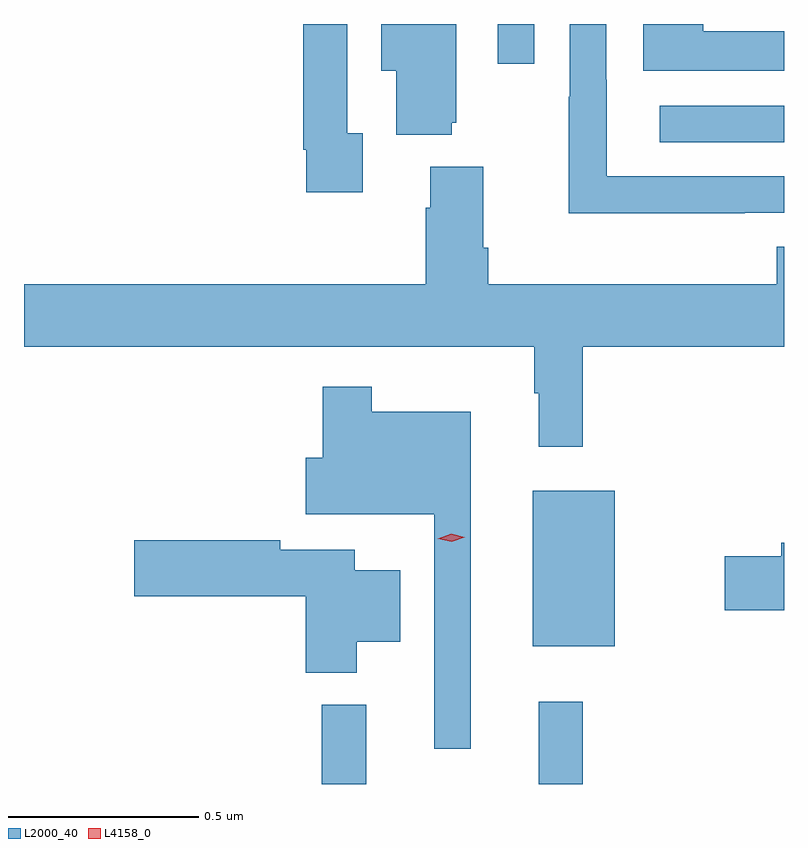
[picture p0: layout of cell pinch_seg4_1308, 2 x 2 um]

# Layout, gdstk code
import gdstk
lib = gdstk.Library(unit=1e-6, precision=1e-09)
def R(c, l, rs):  # rectangles x0, y0, x1, y1
    for r in rs: c.add(gdstk.rectangle(r[:2], r[2:], *l))
def P(c, l, *ps):  # polygons
    for p in ps: c.add(gdstk.Polygon(p, *l))
L2000_40 = (2000, 40)
L4158_0 = (4158, 0)

pinch_seg4_1308 = lib.new_cell('pinch_seg4_1308')
R(pinch_seg4_1308, L2000_40, [(342.763,779.685,342.881,779.893), (343.334,779.685,343.451,779.902), (343.319,780.047,343.534,780.457), (343.653,781.374,343.98,781.47), (343.227,781.581,343.323,781.685)])
P(pinch_seg4_1308, L2000_40, [(343.98,781.666),(343.767,781.666),(343.767,781.685),(343.61,781.685),(343.61,781.562),(343.98,781.562)],
  [(343.106,781.425),(343.117,781.425),(343.117,781.685),(342.92,781.685),(342.92,781.562),(342.959,781.562),(342.959,781.394),(343.106,781.394)],
  [(343.877,781.188),(343.98,781.188),(343.98,781.284),(343.513,781.284),(343.513,781.538),(343.512,781.538),(343.512,781.685),(343.416,781.685),(343.416,781.493),(343.414,781.493),(343.414,781.187),(343.877,781.187)],
  [(342.871,781.398),(342.831,781.398),(342.831,781.685),(342.715,781.685),(342.715,781.354),(342.723,781.354),(342.723,781.242),(342.871,781.242)],
  [(343.451,780.836),(343.98,780.836),(343.98,781.099),(343.961,781.099),(343.961,781),(343.202,781),(343.202,781.096),(343.189,781.096),(343.189,781.309),(343.049,781.309),(343.049,781.202),(343.037,781.202),(343.037,781),(341.98,781),(341.98,780.836),(343.323,780.836),(343.323,780.713),(343.334,780.713),(343.334,780.573),(343.451,780.573)],
  [(343.156,780.664),(342.895,780.664),(342.895,780.73),(342.766,780.73),(342.766,780.543),(342.722,780.543),(342.722,780.395),(343.059,780.395),(343.059,779.778),(343.156,779.778)],
  [(342.856,780.059),(342.97,780.059),(342.97,780.247),(342.85,780.247),(342.85,780.301),(342.654,780.301),(342.654,780.326),(342.27,780.326),(342.27,780.179),(342.722,780.179),(342.722,779.978),(342.856,779.978)],
  [(343.98,780.32),(343.973,780.32),(343.973,780.284),(343.824,780.284),(343.824,780.142),(343.98,780.142)])
P(pinch_seg4_1308, L4158_0, [(343.105,780.323),(343.069,780.33),(343.069,780.331),(343.069,780.331),(343.104,780.343),(343.14,780.335),(343.14,780.335),(343.14,780.335)])

lib.write_gds('pinch_seg4_1308.gds')
